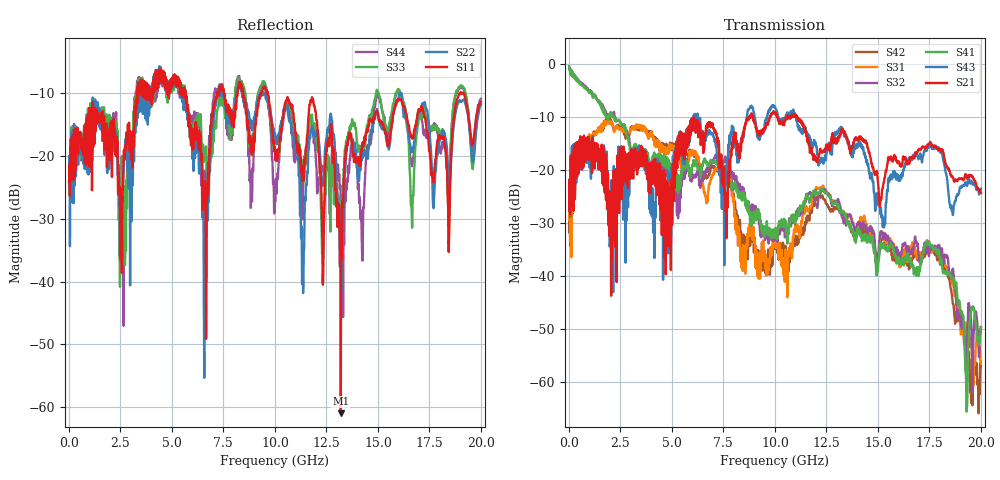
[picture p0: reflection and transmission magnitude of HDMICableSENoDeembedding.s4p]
! File created by SignalIntegrity v1.1.13: Signal and Power Integrity Tools
! https://github.com/TeledyneLeCroy/SignalIntegrity
# MHz S MA R 50.0
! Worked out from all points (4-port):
!   2000 points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, 10 MHz to 20 GHz, reference 50 ohm
!   strongest paths, dB at 10 MHz, 5.01 GHz, 10.01 GHz, 15.01 GHz, 20 GHz:
!     S21: -27.6, -30.3, -9.2, -22.4, -24.3
!     S43: -27.7, -23.9, -8.1, -24.8, -23.5
!     S41: -0.3, -20.8, -32.1, -38.1, -49.6
!     S32: -0.4, -23.3, -32.3, -35.9, -49.6
!     S31: -29.4, -15.6, -34.5, -36.0, -56.6
!     S42: -31.7, -15.8, -34.6, -37.3, -57.0
!   lowest |S11| = -60.9 dB at 13.2 GHz (marker M1), VSWR 1.00, Z = 50.1 - j0.0328 ohm
!   |S11| at or under -10 dB: start of sweep to 3.299 GHz; 5.663 GHz to 7.186 GHz (1.522 GHz wide, 23.7 % of centre); 9.659 GHz to 19 GHz (9.345 GHz wide, 65.2 % of centre)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
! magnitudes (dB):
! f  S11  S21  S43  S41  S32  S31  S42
! 10 MHz  -24.2  -27.6  -27.7  -0.3  -0.4  -29.4  -31.7
! 3.37 GHz  -8.4  -19.6  -17.7  -15.5  -16.9  -12.0  -12.3
! 6.64 GHz  -31.6  -12.7  -14.4  -18.1  -20.1  -24.8  -20.8
! 7.27 GHz  -10.5  -14.7  -19.1  -19.6  -17.4  -19.9  -20.5
! 9.49 GHz  -9.2  -12.5  -11.9  -30.7  -32.0  -35.2  -35.1
! 13.2 GHz  -60.9  -12.7  -12.0  -27.8  -27.6  -27.2  -28.1
! 20 GHz  -11.4  -24.3  -23.5  -49.6  -49.6  -56.6  -57.0
